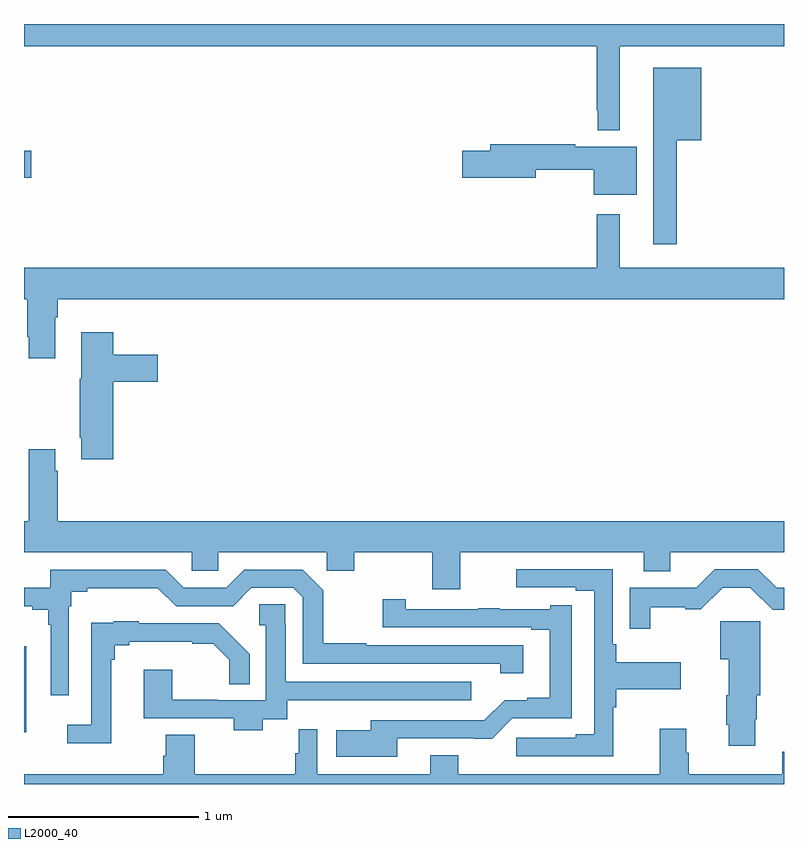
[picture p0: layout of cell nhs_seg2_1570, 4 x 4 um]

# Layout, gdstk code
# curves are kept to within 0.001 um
import gdstk
lib = gdstk.Library(unit=1e-6, precision=1e-09)
def R(c, l, rs):  # rectangles x0, y0, x1, y1
    for r in rs: c.add(gdstk.rectangle(r[:2], r[2:], *l))
def P(c, l, *ps):  # polygons
    for p in ps: c.add(gdstk.Polygon(p, *l))
L2000_40 = (2000, 40)

nhs_seg2_1570 = lib.new_cell('nhs_seg2_1570')
R(nhs_seg2_1570, L2000_40, [(193,596.073,193.012,596.524), (193,598.99,193.039,599.132)])
P(nhs_seg2_1570, L2000_40, [(193,599.684),(196.014,599.684),(196.014,599.347),(196.02,599.347),(196.02,599.24),(196.135,599.24),(196.135,599.684),(197,599.684),(197,599.8),(193,599.8)],
  [(196.435,599.189),(196.564,599.189),(196.564,599.569),(196.313,599.569),(196.313,598.641),(196.435,598.641)],
  [(196.225,599.155),(195.902,599.155),(195.902,599.168),(195.455,599.168),(195.455,599.132),(195.306,599.132),(195.306,598.99),(195.694,598.99),(195.694,599.032),(195.998,599.032),(195.998,598.901),(196.225,598.901)],
  [(193.165,598.256),(193.178,598.256),(193.178,598.352),(197,598.352),(197,598.516),(196.135,598.516),(196.135,598.798),(196.014,598.798),(196.014,598.516),(193,598.516),(193,598.352),(193.018,598.352),(193.018,598.153),(193.025,598.153),(193.025,598.041),(193.165,598.041)],
  [(193.469,597.917),(193.705,597.917),(193.705,598.059),(193.469,598.059),(193.469,598.177),(193.301,598.177),(193.301,597.933),(193.294,597.933),(193.294,597.622),(193.301,597.622),(193.301,597.51),(193.469,597.51)],
  [(195.295,597.02),(196.262,597.02),(196.262,596.921),(196.402,596.921),(196.402,597.02),(197,597.02),(197,597.184),(193.178,597.184),(193.178,597.449),(193.165,597.449),(193.165,597.562),(193.025,597.562),(193.025,597.184),(193,597.184),(193,597.02),(193.884,597.02),(193.884,596.922),(194.022,596.922),(194.022,597.02),(194.593,597.02),(194.593,596.922),(194.739,596.922),(194.739,597.02),(195.148,597.02),(195.148,596.826),(195.295,596.826)],
  [(196.297,596.731),(196.481,596.731),(196.481,596.719),(196.562,596.719),(196.677,596.834),(196.822,596.834),(196.94,596.716),(197,596.716),(197,596.832),(196.962,596.832),(196.863,596.931),(196.635,596.931),(196.538,596.834),(196.188,596.834),(196.188,596.616),(196.297,596.616)],
  [(196.101,596.204),(196.118,596.204),(196.118,596.3),(196.456,596.3),(196.456,596.44),(196.118,596.44),(196.118,596.536),(196.098,596.536),(196.098,596.931),(195.591,596.931),(195.591,596.835),(195.905,596.835),(195.905,596.817),(196.002,596.817),(196.002,596.063),(195.905,596.063),(195.905,596.043),(195.591,596.043),(195.591,595.947),(196.101,595.947)],
  [(193.236,596.735),(193.249,596.735),(193.249,596.812),(193.333,596.812),(193.333,596.831),(193.705,596.831),(193.8,596.736),(194.1,596.736),(194.196,596.832),(194.418,596.832),(194.466,596.784),(194.466,596.433),(195.507,596.433),(195.507,596.382),(195.628,596.382),(195.628,596.529),(194.801,596.529),(194.801,596.542),(194.575,596.542),(194.575,596.819),(194.466,596.928),(194.16,596.928),(194.064,596.832),(193.842,596.832),(193.746,596.928),(193.138,596.928),(193.138,596.832),(193,596.832),(193,596.735),(193.043,596.735),(193.043,596.716),(193.128,596.716),(193.128,596.639),(193.14,596.639),(193.14,596.268),(193.236,596.268)],
  [(194.965,596.04),(195.464,596.039),(195.57,596.145),(195.883,596.145),(195.883,596.74),(195.771,596.74),(195.771,596.721),(195.503,596.721),(195.503,596.726),(195.391,596.726),(195.391,596.721),(195.009,596.721),(195.009,596.773),(194.889,596.773),(194.889,596.625),(195.671,596.625),(195.671,596.613),(195.767,596.613),(195.767,596.254),(195.648,596.254),(195.648,596.242),(195.529,596.242),(195.423,596.136),(194.825,596.136),(194.825,596.083),(194.643,596.083),(194.643,595.943),(194.965,595.943)],
  [(194.257,596.141),(194.386,596.141),(194.386,596.24),(194.655,596.24),(194.655,596.241),(195.355,596.241),(195.355,596.337),(194.377,596.337),(194.377,596.639),(194.376,596.639),(194.376,596.747),(194.238,596.747),(194.238,596.636),(194.273,596.636),(194.273,596.241),(194.021,596.241),(194.021,596.243),(193.779,596.243),(193.779,596.401),(193.631,596.401),(193.631,596.145),(194.105,596.145),(194.105,596.084),(194.257,596.084)],
  [(196.849,596.141),(196.857,596.141),(196.857,596.268),(196.875,596.268),(196.875,596.656),(196.664,596.656),(196.664,596.456),(196.709,596.456),(196.709,596.268),(196.697,596.268),(196.697,596.113),(196.709,596.113),(196.709,596.001),(196.849,596.001)],
  [(193.459,596.453),(193.477,596.453),(193.477,596.53),(193.555,596.53),(193.555,596.549),(193.886,596.549),(193.886,596.538),(193.995,596.538),(194.079,596.455),(194.079,596.326),(194.188,596.326),(194.188,596.483),(194.104,596.566),(194.105,596.567),(194.026,596.646),(193.605,596.646),(193.605,596.656),(193.473,596.656),(193.473,596.648),(193.355,596.648),(193.355,596.113),(193.227,596.113),(193.227,596.015),(193.459,596.015)],
  [(197,595.971),(196.991,595.971),(196.991,595.852),(196.499,595.852),(196.499,595.964),(196.486,595.964),(196.486,596.092),(196.346,596.092),(196.346,595.852),(195.285,595.852),(195.285,595.951),(195.137,595.951),(195.137,595.852),(194.544,595.852),(194.544,596.089),(194.447,596.089),(194.447,595.962),(194.428,595.962),(194.428,595.852),(193.898,595.852),(193.898,596.06),(193.745,596.06),(193.745,595.95),(193.733,595.95),(193.733,595.852),(193,595.852),(193,595.8),(197,595.8)])

lib.write_gds('nhs_seg2_1570.gds')
